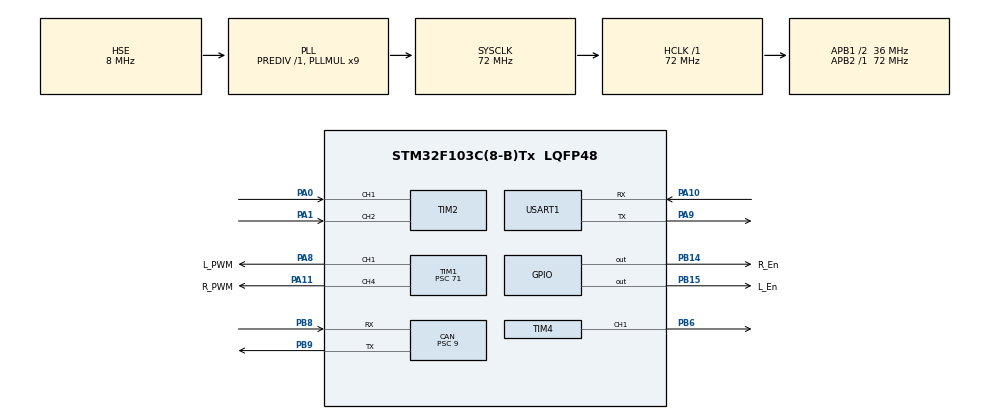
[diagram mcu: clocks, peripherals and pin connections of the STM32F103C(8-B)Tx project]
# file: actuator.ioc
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CAN.ABOM=ENABLE
CAN.AWUM=ENABLE
CAN.BS1=CAN_BS1_6TQ
CAN.CalculateBaudRate=500000
CAN.CalculateTimeBit=2000
CAN.CalculateTimeQuantum=250.0
CAN.NART=ENABLE
CAN.Prescaler=9
Mcu.Family=STM32F1
Mcu.Name=STM32F103C(8-B)Tx
Mcu.Package=LQFP48
NVIC.PriorityGroup=NVIC_PRIORITYGROUP_4
NVIC.USB_LP_CAN1_RX0_IRQn=true\:0\:0\:false\:false\:true\:true\:true\:true
PA0-WKUP.Signal=S_TIM2_CH1_ETR
PA1.Signal=S_TIM2_CH2
PA10.Mode=Asynchronous
PA10.Signal=USART1_RX
PA11.GPIO_Label=R_PWM
PA11.Signal=S_TIM1_CH4
PA8.GPIO_Label=L_PWM
PA8.Signal=S_TIM1_CH1
PA9.Mode=Asynchronous
PA9.Signal=USART1_TX
PB14.GPIO_Label=R_En
PB14.PinState=GPIO_PIN_SET
PB14.Signal=GPIO_Output
PB15.GPIO_Label=L_En
PB15.PinState=GPIO_PIN_SET
PB15.Signal=GPIO_Output
PB6.Signal=S_TIM4_CH1
PB8.Mode=CAN_Activate
PB8.Signal=CAN_RX
PB9.Mode=CAN_Activate
PB9.Signal=CAN_TX
PD0-OSC_IN.Mode=HSE-External-Oscillator
PD0-OSC_IN.Signal=RCC_OSC_IN
PD1-OSC_OUT.Mode=HSE-External-Oscillator
PD1-OSC_OUT.Signal=RCC_OSC_OUT
ProjectManager.HeapSize=0x200
ProjectManager.StackSize=0x400
ProjectManager.TargetToolchain=STM32CubeIDE
RCC.AHBFreq_Value=72000000
RCC.APB1CLKDivider=RCC_HCLK_DIV2
RCC.APB1Freq_Value=36000000
RCC.APB1TimFreq_Value=72000000
RCC.APB2Freq_Value=72000000
RCC.APB2TimFreq_Value=72000000
RCC.HCLKFreq_Value=72000000
RCC.PLLMUL=RCC_PLL_MUL9
RCC.PLLSourceVirtual=RCC_PLLSOURCE_HSE
RCC.SYSCLKFreq_VALUE=72000000
RCC.SYSCLKSource=RCC_SYSCLKSOURCE_PLLCLK
RCC.USBFreq_Value=72000000
SH.S_TIM1_CH1.0=TIM1_CH1,PWM Generation1 CH1
SH.S_TIM1_CH4.0=TIM1_CH4,PWM Generation4 CH4
SH.S_TIM2_CH1_ETR.0=TIM2_CH1,Encoder_Interface
SH.S_TIM2_CH2.0=TIM2_CH2,Encoder_Interface
SH.S_TIM4_CH1.0=TIM4_CH1,PWM Generation1 CH1
TIM1.Channel-PWM\ Generation1\ CH1=TIM_CHANNEL_1
TIM1.Channel-PWM\ Generation4\ CH4=TIM_CHANNEL_4
TIM1.Period=99
TIM1.Prescaler=71
TIM1.Pulse-PWM\ Generation1\ CH1=50
TIM1.Pulse-PWM\ Generation4\ CH4=50
TIM2.EncoderMode=TIM_ENCODERMODE_TI12
TIM4.Channel-PWM\ Generation1\ CH1=TIM_CHANNEL_1
TIM4.Period=199
TIM4.Prescaler=7199
TIM4.Pulse-PWM\ Generation1\ CH1=0
USART1.VirtualMode=VM_ASYNC
VP_SYS_VS_ND.Mode=No_Debug
VP_TIM1_VS_ClockSourceINT.Mode=Internal
VP_TIM4_VS_ClockSourceINT.Mode=Internal
board=custom

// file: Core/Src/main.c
/* USER CODE BEGIN Header */
/**
  ******************************************************************************
  * @file           : main.c
  * @brief          : Main program body
  ******************************************************************************
  * @attention
  *
  * Copyright (c) 2025 STMicroelectronics.
  * All rights reserved.
  *
  * This software is licensed under terms that can be found in the LICENSE file
  * in the root directory of this software component.
  * If no LICENSE file comes with this software, it is provided AS-IS.
  *
  ******************************************************************************
  */
/* USER CODE END Header */
#include "main.h"

/* USER CODE BEGIN Includes */
#include <stdio.h>
/* USER CODE END Includes */

/* USER CODE BEGIN PD */
#define PULSE_PER_ROUND 10582
#define TIME_SAMPLE 0.1
/* USER CODE END PD */

CAN_HandleTypeDef hcan;

TIM_HandleTypeDef htim1;
TIM_HandleTypeDef htim2;
TIM_HandleTypeDef htim4;

UART_HandleTypeDef huart1;

/* USER CODE BEGIN PV */
const float Kp = 1.5;
const float Ki = 0.5;
const float Kd = 0.05;
static int target_RPM = 0;
static int current_RPM = 0;
static int sum_error = 0;
static int old_error = 0;
static int angle = 0;
char text_data[20];
CAN_RxHeaderTypeDef RxHeader;
uint8_t RxData[2] = {0};
/* USER CODE END PV */

void SystemClock_Config(void);
static void MX_GPIO_Init(void);
static void MX_CAN_Init(void);
static void MX_TIM1_Init(void);
static void MX_TIM2_Init(void);
static void MX_TIM4_Init(void);
static void MX_USART1_UART_Init(void);

/* USER CODE BEGIN 0 */
void Start_motor(void)
{
	if(HAL_TIM_PWM_Start(&htim1, TIM_CHANNEL_1) == HAL_ERROR)
	{
		HAL_UART_Transmit(&huart1, (uint8_t*)"\n\rFail to start L_PWM", 23, 100);
		Error_Handler();
	}
	if(HAL_TIM_PWM_Start(&htim1, TIM_CHANNEL_4) == HAL_ERROR)
	{
		HAL_UART_Transmit(&huart1, (uint8_t*)"\n\rFail to start R_PWM", 23, 100);
		Error_Handler();
	}
}

void Start_servo(void)
{
	if(HAL_TIM_PWM_Start(&htim4, TIM_CHANNEL_1) == HAL_ERROR)
	{
		HAL_UART_Transmit(&huart1, (uint8_t*)"\n\rFail to start servo PWM", 27, 100);
		Error_Handler();
	}
}

void Start_encoder(void)
{
	if(HAL_TIM_Encoder_Start(&htim2, TIM_CHANNEL_ALL) == HAL_ERROR)
	{
		HAL_UART_Transmit(&huart1, (uint8_t*)"\n\rFail to start encoder", 25, 100);
		Error_Handler();
	}
}

void Configure_CAN(void)
{
	CAN_FilterTypeDef config_filter = {
			.FilterActivation = CAN_FILTER_ENABLE,
			.FilterBank = 0,
			.FilterFIFOAssignment = CAN_FILTER_FIFO0,
			.FilterIdHigh = 0x45 << 5,
			.FilterIdLow = 0x0000,
			.FilterMaskIdHigh = 0x45 << 5,
			.FilterMaskIdLow = 0x0000,
			.FilterMode = CAN_FILTERMODE_IDMASK,
			.FilterScale = CAN_FILTERSCALE_32BIT,
	};

	if (HAL_CAN_ConfigFilter(&hcan, &config_filter) != HAL_OK)
	{
		Error_Handler();
	}
}

void Start_CAN(void)
{
	if(HAL_CAN_Start(&hcan) == HAL_ERROR)
	{
		HAL_UART_Transmit(&huart1, (uint8_t*)"\n\rFail to start CAN", 25, 100);
		Error_Handler();
	}
	if (HAL_CAN_ActivateNotification(&hcan, CAN_IT_RX_FIFO0_MSG_PENDING) != HAL_OK)
	{
		Error_Handler();
	}
}

int Calculate_PID(void)
{
	uint16_t encoder_data = __HAL_TIM_GET_COUNTER(&htim2);
	__HAL_TIM_SET_COUNTER(&htim2, 0);
	current_RPM = (int)encoder_data*600/ PULSE_PER_ROUND;
	sprintf(text_data, "\n\rRPM: %d", current_RPM);
	HAL_UART_Transmit(&huart1, (uint8_t*)text_data, sizeof(text_data), 100);
	int error = target_RPM-current_RPM;
	float Pout = Kp*error;
	float Dout = Kd * (error-old_error) / TIME_SAMPLE;
	sum_error+=error;
	float Iout = Ki*sum_error*TIME_SAMPLE;
	old_error = error;
	return (int)(Pout+Dout+Iout);
}

void Get_Data(void)
{
	angle = (int)RxData[0];
	target_RPM = (int)RxData[1];
}

void Set_Speed(void)
{
	int current_speed = Calculate_PID();
	__HAL_TIM_SET_COMPARE(&htim1, TIM_CHANNEL_4, current_speed);
}

void Set_Angle(void)
{
	__HAL_TIM_SET_COMPARE(&htim4, TIM_CHANNEL_1, angle);
}

void HAL_CAN_RxFifo0MsgPendingCallback(CAN_HandleTypeDef *hcan1)
{
  if (HAL_CAN_GetRxMessage(hcan1, CAN_RX_FIFO0, &RxHeader, RxData) != HAL_OK)
  {
    Error_Handler();
  }
  Get_Data();
}
/* USER CODE END 0 */

int main(void)
{

  /* MCU Configuration--------------------------------------------------------*/

  /* Reset of all peripherals, Initializes the Flash interface and the Systick. */
  HAL_Init();

  /* Configure the system clock */
  SystemClock_Config();

  /* Initialize all configured peripherals */
  MX_GPIO_Init();
  MX_CAN_Init();
  MX_TIM1_Init();
  MX_TIM2_Init();
  MX_TIM4_Init();
  MX_USART1_UART_Init();
  /* USER CODE BEGIN 2 */
  Start_motor();
  Start_servo();
  Start_encoder();
  Configure_CAN();
  Start_CAN();
  /* USER CODE END 2 */

  /* Infinite loop */
  /* USER CODE BEGIN WHILE */
  while (1)
  {
	  Set_Speed();
	  Set_Angle();
	  HAL_Delay(100);
    /* USER CODE END WHILE */

  }
}

void SystemClock_Config(void)
{
  RCC_OscInitTypeDef RCC_OscInitStruct = {0};
  RCC_ClkInitTypeDef RCC_ClkInitStruct = {0};

  /** Initializes the RCC Oscillators according to the specified parameters
  * in the RCC_OscInitTypeDef structure.
  */
  RCC_OscInitStruct.OscillatorType = RCC_OSCILLATORTYPE_HSE;
  RCC_OscInitStruct.HSEState = RCC_HSE_ON;
  RCC_OscInitStruct.HSEPredivValue = RCC_HSE_PREDIV_DIV1;
  RCC_OscInitStruct.HSIState = RCC_HSI_ON;
  RCC_OscInitStruct.PLL.PLLState = RCC_PLL_ON;
  RCC_OscInitStruct.PLL.PLLSource = RCC_PLLSOURCE_HSE;
  RCC_OscInitStruct.PLL.PLLMUL = RCC_PLL_MUL9;
  if (HAL_RCC_OscConfig(&RCC_OscInitStruct) != HAL_OK)
  {
    Error_Handler();
  }

  /** Initializes the CPU, AHB and APB buses clocks
  */
  RCC_ClkInitStruct.ClockType = RCC_CLOCKTYPE_HCLK|RCC_CLOCKTYPE_SYSCLK
                              |RCC_CLOCKTYPE_PCLK1|RCC_CLOCKTYPE_PCLK2;
  RCC_ClkInitStruct.SYSCLKSource = RCC_SYSCLKSOURCE_PLLCLK;
  RCC_ClkInitStruct.AHBCLKDivider = RCC_SYSCLK_DIV1;
  RCC_ClkInitStruct.APB1CLKDivider = RCC_HCLK_DIV2;
  RCC_ClkInitStruct.APB2CLKDivider = RCC_HCLK_DIV1;

  if (HAL_RCC_ClockConfig(&RCC_ClkInitStruct, FLASH_LATENCY_2) != HAL_OK)
  {
    Error_Handler();
  }
}

static void MX_CAN_Init(void)
{

  hcan.Instance = CAN1;
  hcan.Init.Prescaler = 9;
  hcan.Init.Mode = CAN_MODE_NORMAL;
  hcan.Init.SyncJumpWidth = CAN_SJW_1TQ;
  hcan.Init.TimeSeg1 = CAN_BS1_6TQ;
  hcan.Init.TimeSeg2 = CAN_BS2_1TQ;
  hcan.Init.TimeTriggeredMode = DISABLE;
  hcan.Init.AutoBusOff = ENABLE;
  hcan.Init.AutoWakeUp = ENABLE;
  hcan.Init.AutoRetransmission = ENABLE;
  hcan.Init.ReceiveFifoLocked = DISABLE;
  hcan.Init.TransmitFifoPriority = DISABLE;
  if (HAL_CAN_Init(&hcan) != HAL_OK)
  {
    Error_Handler();
  }

}

static void MX_TIM1_Init(void)
{

  TIM_ClockConfigTypeDef sClockSourceConfig = {0};
  TIM_MasterConfigTypeDef sMasterConfig = {0};
  TIM_OC_InitTypeDef sConfigOC = {0};
  TIM_BreakDeadTimeConfigTypeDef sBreakDeadTimeConfig = {0};

  htim1.Instance = TIM1;
  htim1.Init.Prescaler = 71;
  htim1.Init.CounterMode = TIM_COUNTERMODE_UP;
  htim1.Init.Period = 99;
  htim1.Init.ClockDivision = TIM_CLOCKDIVISION_DIV1;
  htim1.Init.RepetitionCounter = 0;
  htim1.Init.AutoReloadPreload = TIM_AUTORELOAD_PRELOAD_DISABLE;
  if (HAL_TIM_Base_Init(&htim1) != HAL_OK)
  {
    Error_Handler();
  }
  sClockSourceConfig.ClockSource = TIM_CLOCKSOURCE_INTERNAL;
  if (HAL_TIM_ConfigClockSource(&htim1, &sClockSourceConfig) != HAL_OK)
  {
    Error_Handler();
  }
  if (HAL_TIM_PWM_Init(&htim1) != HAL_OK)
  {
    Error_Handler();
  }
  sMasterConfig.MasterOutputTrigger = TIM_TRGO_RESET;
  sMasterConfig.MasterSlaveMode = TIM_MASTERSLAVEMODE_DISABLE;
  if (HAL_TIMEx_MasterConfigSynchronization(&htim1, &sMasterConfig) != HAL_OK)
  {
    Error_Handler();
  }
  sConfigOC.OCMode = TIM_OCMODE_PWM1;
  sConfigOC.Pulse = 50;
  sConfigOC.OCPolarity = TIM_OCPOLARITY_HIGH;
  sConfigOC.OCNPolarity = TIM_OCNPOLARITY_HIGH;
  sConfigOC.OCFastMode = TIM_OCFAST_DISABLE;
  sConfigOC.OCIdleState = TIM_OCIDLESTATE_RESET;
  sConfigOC.OCNIdleState = TIM_OCNIDLESTATE_RESET;
  if (HAL_TIM_PWM_ConfigChannel(&htim1, &sConfigOC, TIM_CHANNEL_1) != HAL_OK)
  {
    Error_Handler();
  }
  if (HAL_TIM_PWM_ConfigChannel(&htim1, &sConfigOC, TIM_CHANNEL_4) != HAL_OK)
  {
    Error_Handler();
  }
  sBreakDeadTimeConfig.OffStateRunMode = TIM_OSSR_DISABLE;
  sBreakDeadTimeConfig.OffStateIDLEMode = TIM_OSSI_DISABLE;
  sBreakDeadTimeConfig.LockLevel = TIM_LOCKLEVEL_OFF;
  sBreakDeadTimeConfig.DeadTime = 0;
  sBreakDeadTimeConfig.BreakState = TIM_BREAK_DISABLE;
  sBreakDeadTimeConfig.BreakPolarity = TIM_BREAKPOLARITY_HIGH;
  sBreakDeadTimeConfig.AutomaticOutput = TIM_AUTOMATICOUTPUT_DISABLE;
  if (HAL_TIMEx_ConfigBreakDeadTime(&htim1, &sBreakDeadTimeConfig) != HAL_OK)
  {
    Error_Handler();
  }
  HAL_TIM_MspPostInit(&htim1);

}

static void MX_TIM2_Init(void)
{

  TIM_Encoder_InitTypeDef sConfig = {0};
  TIM_MasterConfigTypeDef sMasterConfig = {0};

  htim2.Instance = TIM2;
  htim2.Init.Prescaler = 0;
  htim2.Init.CounterMode = TIM_COUNTERMODE_UP;
  htim2.Init.Period = 65535;
  htim2.Init.ClockDivision = TIM_CLOCKDIVISION_DIV1;
  htim2.Init.AutoReloadPreload = TIM_AUTORELOAD_PRELOAD_DISABLE;
  sConfig.EncoderMode = TIM_ENCODERMODE_TI12;
  sConfig.IC1Polarity = TIM_ICPOLARITY_RISING;
  sConfig.IC1Selection = TIM_ICSELECTION_DIRECTTI;
  sConfig.IC1Prescaler = TIM_ICPSC_DIV1;
  sConfig.IC1Filter = 0;
  sConfig.IC2Polarity = TIM_ICPOLARITY_RISING;
  sConfig.IC2Selection = TIM_ICSELECTION_DIRECTTI;
  sConfig.IC2Prescaler = TIM_ICPSC_DIV1;
  sConfig.IC2Filter = 0;
  if (HAL_TIM_Encoder_Init(&htim2, &sConfig) != HAL_OK)
  {
    Error_Handler();
  }
  sMasterConfig.MasterOutputTrigger = TIM_TRGO_RESET;
  sMasterConfig.MasterSlaveMode = TIM_MASTERSLAVEMODE_DISABLE;
  if (HAL_TIMEx_MasterConfigSynchronization(&htim2, &sMasterConfig) != HAL_OK)
  {
    Error_Handler();
  }

}

static void MX_TIM4_Init(void)
{

  TIM_ClockConfigTypeDef sClockSourceConfig = {0};
  TIM_MasterConfigTypeDef sMasterConfig = {0};
  TIM_OC_InitTypeDef sConfigOC = {0};

  htim4.Instance = TIM4;
  htim4.Init.Prescaler = 7199;
  htim4.Init.CounterMode = TIM_COUNTERMODE_UP;
  htim4.Init.Period = 199;
  htim4.Init.ClockDivision = TIM_CLOCKDIVISION_DIV1;
  htim4.Init.AutoReloadPreload = TIM_AUTORELOAD_PRELOAD_DISABLE;
  if (HAL_TIM_Base_Init(&htim4) != HAL_OK)
  {
    Error_Handler();
  }
  sClockSourceConfig.ClockSource = TIM_CLOCKSOURCE_INTERNAL;
  if (HAL_TIM_ConfigClockSource(&htim4, &sClockSourceConfig) != HAL_OK)
  {
    Error_Handler();
  }
  if (HAL_TIM_PWM_Init(&htim4) != HAL_OK)
  {
    Error_Handler();
  }
  sMasterConfig.MasterOutputTrigger = TIM_TRGO_RESET;
  sMasterConfig.MasterSlaveMode = TIM_MASTERSLAVEMODE_DISABLE;
  if (HAL_TIMEx_MasterConfigSynchronization(&htim4, &sMasterConfig) != HAL_OK)
  {
    Error_Handler();
  }
  sConfigOC.OCMode = TIM_OCMODE_PWM1;
  sConfigOC.Pulse = 0;
  sConfigOC.OCPolarity = TIM_OCPOLARITY_HIGH;
  sConfigOC.OCFastMode = TIM_OCFAST_DISABLE;
  if (HAL_TIM_PWM_ConfigChannel(&htim4, &sConfigOC, TIM_CHANNEL_1) != HAL_OK)
  {
    Error_Handler();
  }
  HAL_TIM_MspPostInit(&htim4);

}

static void MX_USART1_UART_Init(void)
{

  huart1.Instance = USART1;
  huart1.Init.BaudRate = 115200;
  huart1.Init.WordLength = UART_WORDLENGTH_8B;
  huart1.Init.StopBits = UART_STOPBITS_1;
  huart1.Init.Parity = UART_PARITY_NONE;
  huart1.Init.Mode = UART_MODE_TX_RX;
  huart1.Init.HwFlowCtl = UART_HWCONTROL_NONE;
  huart1.Init.OverSampling = UART_OVERSAMPLING_16;
  if (HAL_UART_Init(&huart1) != HAL_OK)
  {
    Error_Handler();
  }

}

static void MX_GPIO_Init(void)
{
  GPIO_InitTypeDef GPIO_InitStruct = {0};

  /* GPIO Ports Clock Enable */
  __HAL_RCC_GPIOD_CLK_ENABLE();
  __HAL_RCC_GPIOA_CLK_ENABLE();
  __HAL_RCC_GPIOB_CLK_ENABLE();

  /*Configure GPIO pin Output Level */
  HAL_GPIO_WritePin(GPIOB, R_En_Pin|L_En_Pin, GPIO_PIN_SET);

  /*Configure GPIO pins : R_En_Pin L_En_Pin */
  GPIO_InitStruct.Pin = R_En_Pin|L_En_Pin;
  GPIO_InitStruct.Mode = GPIO_MODE_OUTPUT_PP;
  GPIO_InitStruct.Pull = GPIO_NOPULL;
  GPIO_InitStruct.Speed = GPIO_SPEED_FREQ_LOW;
  HAL_GPIO_Init(GPIOB, &GPIO_InitStruct);

}

void Error_Handler(void)
{
  __disable_irq();
  while (1)
  {
  }
}
